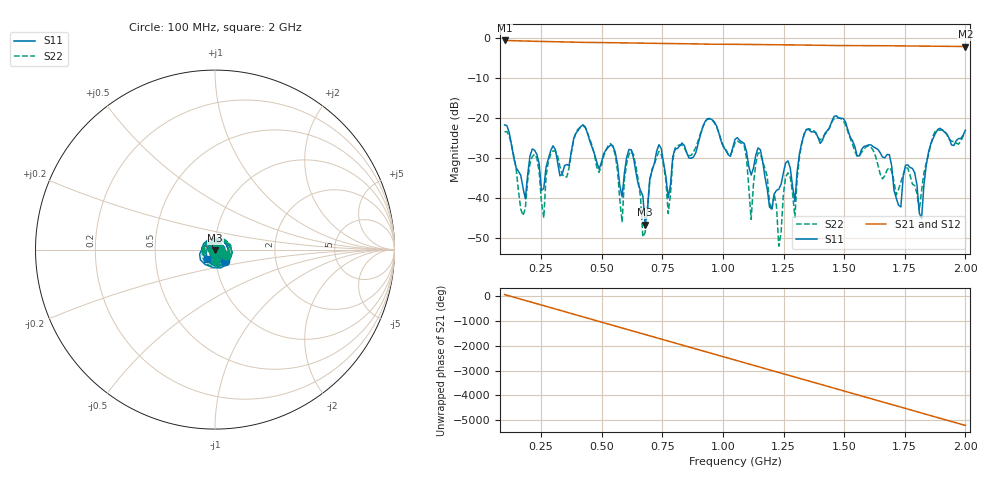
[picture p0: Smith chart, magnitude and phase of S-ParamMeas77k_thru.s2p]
!Keysight Technologies,N5242B,MY48420967,A.15.65.19
!Date: Saturday, December 17, 2022 18:40:18
!Correction: S11(C  2-Port  )
!S21(C  2-Port  )
!S12(C  2-Port  )
!S22(C  2-Port  )
!S2P File: Measurements: S11, S21, S12, S22:
# Hz S  dB  R 50
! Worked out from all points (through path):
!   201 points, 100 MHz to 2 GHz, reference 50 ohm
!   highest |S21| = -0.61 dB at 100 MHz (marker M1); lowest = -2.1 dB at 2 GHz (marker M2)
!   group delay of S21, straight-line fit = 7.76 ns
!   lowest |S11| = -46.6 dB at 679.5 MHz (marker M3), VSWR 1.01, Z = 50.1 - j0.458 ohm
!   |S11| at or under -10 dB: start of sweep to end of sweep
!   |S22| runs from -52.0 to -19.9 dB; largest |S21 - S12| = 0.00042
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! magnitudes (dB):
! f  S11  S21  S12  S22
! 100 MHz  -21.7  -0.6  -0.6  -23.5
! 261.5 MHz  -37.5  -0.9  -0.9  -44.9
! 290 MHz  -28.1  -0.9  -0.9  -29.0
! 423 MHz  -21.7  -1.1  -1.1  -21.9
! 546.5 MHz  -27.0  -1.2  -1.2  -27.1
! 584.5 MHz  -39.6  -1.2  -1.2  -46.0
! 622.5 MHz  -27.9  -1.2  -1.3  -28.1
! 679.5 MHz  -46.6  -1.3  -1.3  -48.5
! 736.5 MHz  -26.6  -1.3  -1.3  -28.3
! 774.5 MHz  -39.9  -1.4  -1.4  -43.8
! 812.5 MHz  -27.6  -1.4  -1.4  -26.9
! 1.05 GHz  -25.3  -1.6  -1.6  -26.2
! 1.117 GHz  -34.2  -1.6  -1.6  -45.3
! 1.155 GHz  -27.9  -1.6  -1.6  -28.8
! 1.23 GHz  -37.8  -1.7  -1.7  -52.0
! 1.259 GHz  -31.2  -1.7  -1.7  -34.7
! 1.297 GHz  -40.8  -1.7  -1.7  -44.8
! 1.373 GHz  -23.4  -1.8  -1.8  -23.0
! 1.687 GHz  -29.1  -1.9  -1.9  -32.3
! 1.819 GHz  -44.9  -2.0  -2.0  -38.1
! 1.877 GHz  -23.8  -2.1  -2.1  -23.2
! 2 GHz  -23.0  -2.1  -2.1  -23.6
